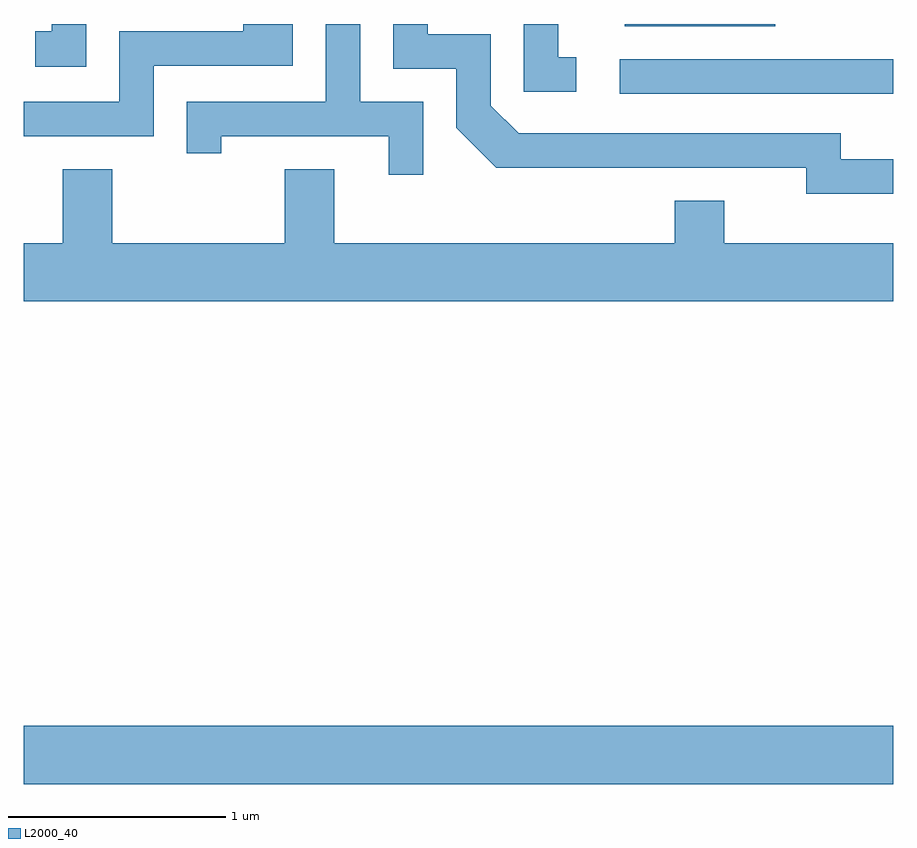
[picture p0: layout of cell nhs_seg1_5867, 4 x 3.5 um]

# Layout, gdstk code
import gdstk
lib = gdstk.Library(unit=1e-6, precision=1e-09)
def R(c, l, rs):  # rectangles x0, y0, x1, y1
    for r in rs: c.add(gdstk.rectangle(r[:2], r[2:], *l))
def P(c, l, *ps):  # polygons
    for p in ps: c.add(gdstk.Polygon(p, *l))
L2000_40 = (2000, 40)

nhs_seg1_5867 = lib.new_cell('nhs_seg1_5867')
R(nhs_seg1_5867, L2000_40, [(361.611,926.216,365.611,926.484), (364.353,929.391,365.611,929.549), (364.376,929.701,365.069,929.712)])
P(nhs_seg1_5867, L2000_40, [(361.899,929.712),(361.741,929.712),(361.741,929.679),(361.663,929.679),(361.663,929.516),(361.899,929.516)],
  [(363.449,929.354),(363.159,929.354),(363.159,929.712),(363.001,929.712),(363.001,929.354),(362.361,929.354),(362.361,929.118),(362.519,929.118),(362.519,929.196),(363.291,929.196),(363.291,929.018),(363.449,929.018)],
  [(365.611,929.089),(365.369,929.089),(365.369,929.209),(363.887,929.209),(363.759,929.337),(363.759,929.664),(363.469,929.664),(363.469,929.712),(363.311,929.712),(363.311,929.506),(363.601,929.506),(363.601,929.234),(363.784,929.051),(365.211,929.051),(365.211,928.931),(365.611,928.931)],
  [(364.153,929.559),(364.069,929.559),(364.069,929.712),(363.911,929.712),(363.911,929.401),(364.153,929.401)],
  [(362.209,929.521),(362.849,929.521),(362.849,929.712),(362.621,929.712),(362.621,929.679),(362.051,929.679),(362.051,929.354),(361.611,929.354),(361.611,929.196),(362.209,929.196)],
  [(365.611,928.704),(364.834,928.704),(364.834,928.899),(364.606,928.899),(364.606,928.704),(363.039,928.704),(363.039,929.044),(362.811,929.044),(362.811,928.704),(362.019,928.704),(362.019,929.044),(361.791,929.044),(361.791,928.704),(361.611,928.704),(361.611,928.436),(365.611,928.436)])

lib.write_gds('nhs_seg1_5867.gds')
